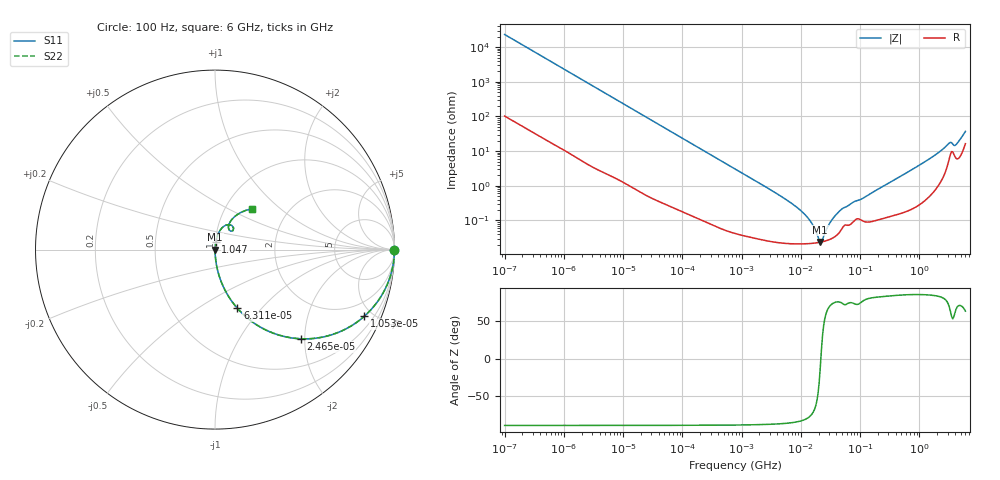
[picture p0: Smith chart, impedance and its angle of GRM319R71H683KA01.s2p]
!Murata Part Number: GRM319R71H683KA01
!These Parameters are Measured in Series Mode Connection
!Data Generated on Mar 30, 2021
!  o--ll--o
!Port1  Port2
!  o------o
!Operation Temp=25[degC], DC Bias Voltage=0[V]
!Freq. Start=100[Hz] Stop=6[GHz] 401[Steps]
# Hz S RI R 50
!Freq.(Hz) S11(Real) S11(Imag) S21(Real) S21(Imag) S12(Real) S12(Imag) S22(Real) S22(Imag)
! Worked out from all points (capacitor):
!   401 points, 100 Hz to 6 GHz, reference 50 ohm
!   read as one part in series: C = 68.6 nF near 109 Hz
!   lowest |Z| = 24.1 mohm at 21.28 MHz (marker M1)
!   series resonance near 21.8 MHz, so ESL is about 780 pH
!   S11 on the Smith chart (normalised r, x): 100 Hz: open; 10.53 kHz: 1.02, -4.46; 24.65 kHz: 1.01, -1.91; 63.12 kHz: 1.01, -0.75; 1.047 GHz: 1.01, +0.08; 6 GHz: 1.33, +0.67
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100  1 -0.00432  3.78e-05 0.00432  3.78e-05 0.00432  1 -0.00432
2008  0.9923 -0.0853  0.00771 0.0853  0.00771 0.0853  0.9923 -0.0853
5378  0.949 -0.2176  0.051 0.2176  0.051 0.2176  0.949 -0.2176
10527  0.8313 -0.3718  0.1687 0.3718  0.1687 0.3718  0.8313 -0.3718
24648  0.4773 -0.4967  0.5227 0.4967  0.5227 0.4967  0.4773 -0.4967
40335  0.256 -0.4334  0.744 0.4334  0.744 0.4334  0.256 -0.4334
63115  0.1245 -0.3268  0.8755 0.3268  0.8755 0.3268  0.1245 -0.3268
193316  0.0159 -0.1207  0.9841 0.1207  0.9841 0.1207  0.0159 -0.1207
774597  0.00137 -0.0308  0.9986 0.0308  0.9986 0.0308  0.00137 -0.0308
6948629  0.000222 -0.00312  0.9998 0.00312  0.9998 0.00312  0.000222 -0.00312
1.137099e7  0.000214 -0.00155  0.9998 0.00155  0.9998 0.00155  0.000214 -0.00155
1.555665e7  0.000219 -0.000764  0.9998 0.000764  0.9998 0.000764  0.000219 -0.000764
2.128304e7  0.000235 -5.3e-05  0.9998 5.3e-05  0.9998 5.3e-05  0.000235 -5.3e-05
2.327686e7  0.000243 0.000147  0.9998 -0.000147  0.9998 -0.000147  0.000243 0.000147
2.784235e7  0.000265 0.000553  0.9997 -0.000553  0.9997 -0.000553  0.000265 0.000553
3.330331e7  0.000301 0.000983  0.9997 -0.000983  0.9997 -0.000983  0.000301 0.000983
4.764863e7  0.000524 0.00197  0.9995 -0.00197  0.9995 -0.00197  0.000524 0.00197
3.124326e8  0.00143 0.0122  0.9986 -0.0122  0.9986 -0.0122  0.00143 0.0122
1.046602e9  0.00462 0.0407  0.9954 -0.0407  0.9954 -0.0407  0.00462 0.0407
3.065283e9  0.0627 0.137  0.9373 -0.137  0.9373 -0.137  0.0627 0.137
4.193612e9  0.0745 0.124  0.9255 -0.124  0.9255 -0.124  0.0745 0.124
6e9  0.2059 0.2269  0.7941 -0.2269  0.7941 -0.2269  0.2059 0.2269
